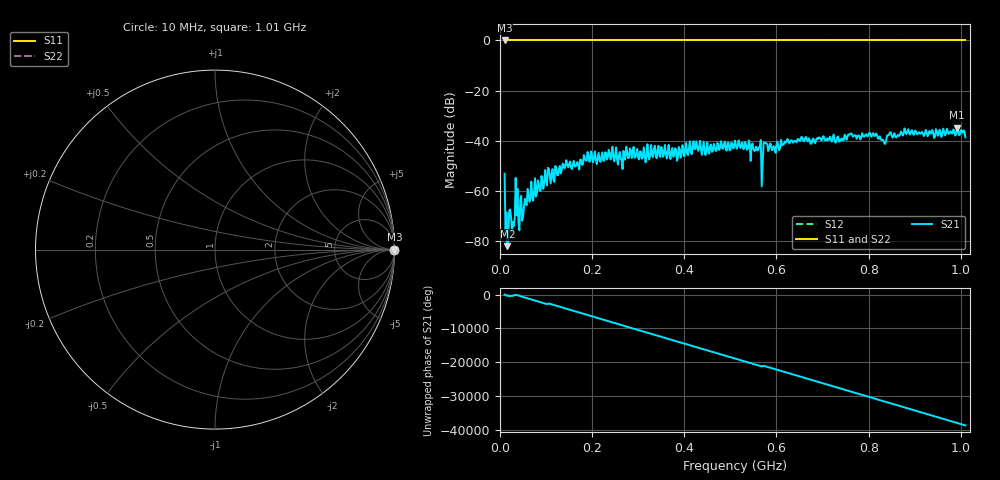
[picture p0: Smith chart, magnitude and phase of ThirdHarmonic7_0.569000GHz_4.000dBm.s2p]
! 8/17/2025 5:32:36 PM
! C:\ANRITSUVNA\TEMP\TEMP.S2P
! CHANNEL.1
! TR.MEASUREMENT
! RAW.DATA
! RF.CORRECTION.OFF
! AVERAGING.OFF
! IF.BANDWIDTH: 5KHZ
! SWEEPTYPE:  FREQ.SWEEP(Linear)
! Reference Plane Port Info
! PORT:  PORT1  PORT2
! DISTANCE:  0  m  0  m
! TIME:  0  s  0  s
! PHASE.OFFSET:  0  deg.  0  deg.
! LOSS:  0  dB  0  dB
! REF.LOSS:  0  dB  0  dB
! REF.FREQ:  0  Hz  0  Hz
! Power Info
! POWER:  -20  dBm  -20  dBm
! EFF.POWER:  -20  dBm  -20  dBm
! SOURCE.ATTEN:  0  dB  0  dB
! TEST.ATTEN:  0  dB  0  dB
# GHZ S RI R 50.0
! FREQ.GHZ  S11RE  S11IM  S21RE  S21IM  S12RE  S12IM  S22RE  S22IM
!; PortSelection: Port_12
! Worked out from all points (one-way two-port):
!   501 points, 10 MHz to 1.01 GHz, reference 50 ohm
!   highest |S21| = -34.76 dB at 992 MHz (marker M1); lowest = -81.9 dB at 16 MHz (marker M2)
!   lowest |S11| = 0.0 dB at 10 MHz (marker M3)
!   |S11| at or under -10 dB: nowhere
!   |S22| runs from 0.0 to 0.0 dB; largest |S21 - S12| = 1
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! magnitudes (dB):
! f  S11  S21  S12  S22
! 10 MHz  0.0  -53.1  0.0  0.0
! 16 MHz  0.0  -81.9  0.0  0.0
! 24 MHz  0.0  -70.4  0.0  0.0
! 28 MHz  0.0  -72.2  0.0  0.0
! 34 MHz  0.0  -54.7  0.0  0.0
! 44 MHz  0.0  -63.8  0.0  0.0
! 64 MHz  0.0  -64.2  0.0  0.0
! 102 MHz  0.0  -57.7  0.0  0.0
! 178 MHz  0.0  -49.5  0.0  0.0
! 344 MHz  0.0  -42.0  0.0  0.0
! 510 MHz  0.0  -39.9  0.0  0.0
! 562 MHz  0.0  -42.5  0.0  0.0
! 566 MHz  0.0  -39.7  0.0  0.0
! 572 MHz  0.0  -40.9  0.0  0.0
! 576 MHz  0.0  -40.9  0.0  0.0
! 594 MHz  0.0  -42.1  0.0  0.0
! 678 MHz  0.0  -39.6  0.0  0.0
! 806 MHz  0.0  -38.4  0.0  0.0
! 834 MHz  0.0  -41.0  0.0  0.0
! 844 MHz  0.0  -37.7  0.0  0.0
! 992 MHz  0.0  -34.8  0.0  0.0
! 1.01 GHz  0.0  -38.6  0.0  0.0
